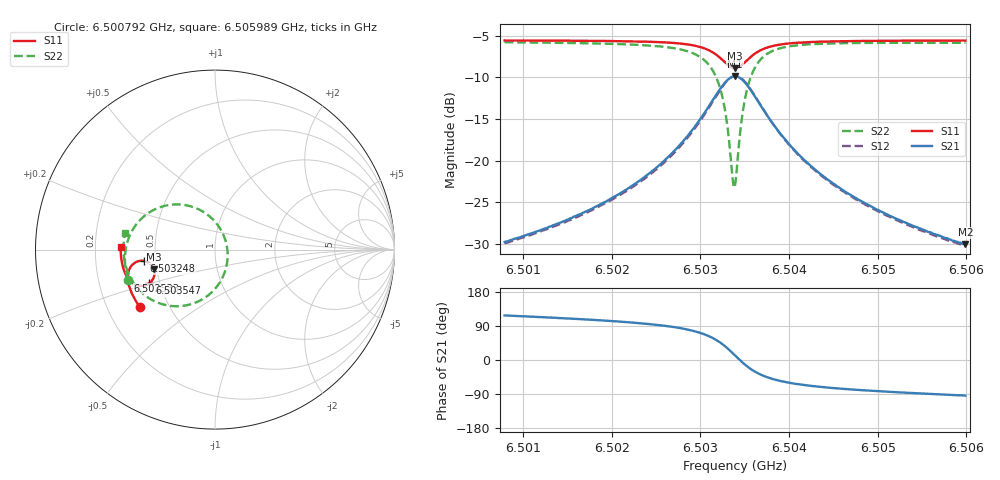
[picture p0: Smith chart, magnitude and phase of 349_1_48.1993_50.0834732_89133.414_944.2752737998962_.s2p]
#  HZ  S  RI  R  50.00
! Rohde & Schwarz Vector Network Analyzer
! Rohde-Schwarz,ZNB20-2Port,1311601062101988,3.16
! Created: UTC 3/20/2024, 11:51:42 AM
! freq[Hz]  re:S11  im:S11  re:S21  im:S21  re:S12  im:S12  re:S22  im:S22
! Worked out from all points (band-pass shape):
!   401 points, 6.500792 GHz to 6.505989 GHz, reference 50 ohm
!   highest |S21| = -9.88 dB at 6.503391 GHz (marker M1); lowest = -30.1 dB at 6.505989 GHz (marker M2)
!   |S21| within 3 dB of the highest: 6.503131 GHz to 6.503651 GHz (520.1 kHz wide, 0.008 % of centre)
!   lowest |S11| = -8.9 dB at 6.503391 GHz (marker M3), VSWR 2.12, Z = 24.1 - j6.11 ohm
!   |S11| at or under -10 dB: nowhere
!   |S22| runs from -23.2 to -5.8 dB; largest |S21 - S12| = 0.011
!   S11 on the Smith chart (normalised r, x): 6.500792 GHz: 0.34, -0.30; 6.502533 GHz: 0.33, -0.15; 6.503248 GHz: 0.43, -0.06; 6.503547 GHz: 0.44, -0.20; 6.505989 GHz: 0.31, +0.01
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6.5007921e9  -0.419 -0.3188  -0.015 0.0288  -0.0133 0.0289  -0.4852 -0.1684
6.5016626e9  -0.4574 -0.2559  -0.0147 0.0458  -0.0122 0.0457  -0.501 -0.0784
6.5021433e9  -0.4749 -0.2142  -0.0119 0.0649  -0.00891 0.064  -0.4994 -0.0125
6.5025331e9  -0.4848 -0.1724  -0.00341 0.0934  0.000214 0.0913  -0.4816 0.0624
6.5028319e9  -0.4835 -0.1291  0.0201 0.1343  0.0238 0.1302  -0.4327 0.1477
6.5030268e9  -0.4667 -0.0918  0.066 0.1747  0.0687 0.1689  -0.3441 0.2197
6.5031568e9  -0.4355 -0.0676  0.1339 0.1974  0.1351 0.1909  -0.2207 0.2519
6.5032477e9  -0.3979 -0.0624  0.2088 0.1877  0.2092 0.1825  -0.0907 0.2244
6.5032997e9  -0.3729 -0.0707  0.2564 0.1606  0.2572 0.1558  -0.0119 0.1683
6.5033646e9  -0.3467 -0.0963  0.3033 0.0984  0.3057 0.0935  0.059 0.0493
6.5033906e9  -0.3405 -0.1105  0.3134 0.0671  0.3164 0.0611  0.0698 -0.00917
6.5034036e9  -0.3385 -0.1179  0.3161 0.0506  0.3193 0.0444  0.0705 -0.039
6.5034556e9  -0.3393 -0.1481  0.3107 -0.0134  0.3136 -0.0222  0.0433 -0.1529
6.5034816e9  -0.3443 -0.1618  0.2998 -0.0418  0.3017 -0.0515  0.0147 -0.2006
6.5035465e9  -0.365 -0.1871  0.2584 -0.0949  0.2571 -0.1057  -0.0789 -0.2816
6.5036505e9  -0.4036 -0.2016  0.1857 -0.1306  0.1805 -0.1396  -0.2248 -0.3153
6.5038194e9  -0.4488 -0.192  0.1061 -0.1279  0.0993 -0.1328  -0.3685 -0.2703
6.5040013e9  -0.4757 -0.1705  0.0626 -0.1087  0.0566 -0.1108  -0.4391 -0.2067
6.5042611e9  -0.4963 -0.1405  0.0333 -0.085  0.0287 -0.0855  -0.4815 -0.1358
6.5046119e9  -0.5107 -0.1044  0.0159 -0.0644  0.0125 -0.064  -0.5024 -0.0678
6.5051317e9  -0.5211 -0.0567  0.0049 -0.0465  0.00272 -0.046  -0.5098 0.00403
6.5059892e9  -0.5257 0.0153  -0.00212 -0.0313  -0.00339 -0.0305  -0.5011 0.0928
